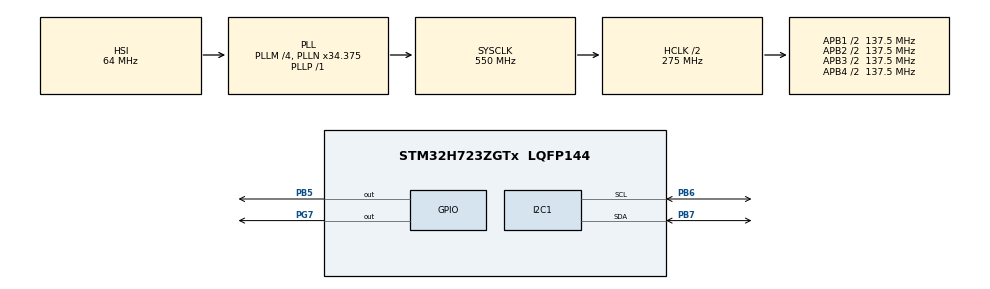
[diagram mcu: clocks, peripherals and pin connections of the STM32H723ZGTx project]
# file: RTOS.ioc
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I2C1.Timing=0x60404E72
Mcu.Family=STM32H7
Mcu.Name=STM32H723ZGTx
Mcu.Package=LQFP144
NVIC.PriorityGroup=NVIC_PRIORITYGROUP_4
NVIC.TIM7_IRQn=true\:15\:0\:false\:false\:true\:true\:true\:true
NVIC.TimeBase=TIM7_IRQn
NVIC.TimeBaseIP=TIM7
PA13(JTMS/SWDIO).Mode=Serial_Wire
PA13(JTMS/SWDIO).Signal=DEBUG_JTMS-SWDIO
PA14(JTCK/SWCLK).Mode=Serial_Wire
PA14(JTCK/SWCLK).Signal=DEBUG_JTCK-SWCLK
PB5.GPIO_PuPd=GPIO_PULLUP
PB5.GPIO_Speed=GPIO_SPEED_FREQ_HIGH
PB5.Signal=GPIO_Output
PB6.GPIO_Pu=GPIO_PULLUP
PB6.GPIO_Speed=GPIO_SPEED_FREQ_VERY_HIGH
PB6.Mode=I2C
PB6.Signal=I2C1_SCL
PB7.GPIO_Pu=GPIO_PULLUP
PB7.GPIO_Speed=GPIO_SPEED_FREQ_VERY_HIGH
PB7.Mode=I2C
PB7.Signal=I2C1_SDA
PC14-OSC32_IN.Mode=LSE-External-Oscillator
PC14-OSC32_IN.Signal=RCC_OSC32_IN
PC15-OSC32_OUT.Mode=LSE-External-Oscillator
PC15-OSC32_OUT.Signal=RCC_OSC32_OUT
PG7.GPIO_PuPd=GPIO_NOPULL
PG7.GPIO_Speed=GPIO_SPEED_FREQ_HIGH
PG7.PinState=GPIO_PIN_SET
PG7.Signal=GPIO_Output
PH0-OSC_IN.Mode=HSE-External-Oscillator
PH0-OSC_IN.Signal=RCC_OSC_IN
PH1-OSC_OUT.Mode=HSE-External-Oscillator
PH1-OSC_OUT.Signal=RCC_OSC_OUT
ProjectManager.HeapSize=0x200
ProjectManager.StackSize=0x400
ProjectManager.TargetToolchain=MDK-ARM V5.32
RCC.ADCFreq_Value=129000000
RCC.APB1Freq_Value=137500000
RCC.APB2Freq_Value=137500000
RCC.APB3Freq_Value=137500000
RCC.APB4Freq_Value=137500000
RCC.CortexFreq_Value=550000000
RCC.D1PPRE=RCC_APB3_DIV2
RCC.D2PPRE1=RCC_APB1_DIV2
RCC.D2PPRE2=RCC_APB2_DIV2
RCC.D3PPRE=RCC_APB4_DIV2
RCC.DIVM1=4
RCC.DIVN1=34
RCC.DIVP1=1
RCC.HCLKFreq_Value=275000000
RCC.HPRE=RCC_HCLK_DIV2
RCC.PLLFRACN=3072
RCC.SYSCLKFreq_VALUE=550000000
RCC.SYSCLKSource=RCC_SYSCLKSOURCE_PLLCLK
RCC.USBFreq_Value=275000000
VP_SYS_VS_tim7.Mode=TIM7
board=custom

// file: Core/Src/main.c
/* USER CODE BEGIN Header */
/**
  ******************************************************************************
  * @file           : main.c
  * @brief          : Main program body
  ******************************************************************************
  * @attention
  *
  * Copyright (c) 2024 STMicroelectronics.
  * All rights reserved.
  *
  * This software is licensed under terms that can be found in the LICENSE file
  * in the root directory of this software component.
  * If no LICENSE file comes with this software, it is provided AS-IS.
  *
  ******************************************************************************
  */
/* USER CODE END Header */
#include "main.h"
#include "i2c.h"
#include "gpio.h"

/* USER CODE BEGIN Includes */
#include "oledBuff.h"
/* USER CODE END Includes */

void SystemClock_Config(void);

int main(void)
{

  /* MCU Configuration--------------------------------------------------------*/

  /* Reset of all peripherals, Initializes the Flash interface and the Systick. */
  HAL_Init();

  /* Configure the system clock */
  SystemClock_Config();

  /* Initialize all configured peripherals */
  MX_GPIO_Init();
  MX_I2C1_Init();
  /* USER CODE BEGIN 2 */
  /* ------------ 测试程序 ---------------- */
	OLED_Init();
	OLED_Clear();
	/* ------------------------------------- */
	OLED_On();
	HAL_Delay(500);
	/* ------------------------------------- */
	OLED_ShowChar(0,0,'c',16,1);
	OLED_ShowNum(0,2,1234,4,16,0);
	OLED_ShowString(0,4,"abcds",16,0);
	OLED_Showdecimal(0,6,1.2345f,1,4,16,0);
	OLED_Refresh();									// 显示到屏幕
	HAL_Delay(500);
	/* ------------------------------------- */
	OLED_ShowCHinese(0,0,0,0);			// 独
	OLED_ShowCHinese(0,2,1,0);			// 角
	OLED_ShowCHinese(0,4,2,0);			// 兽
	OLED_Refresh();									// 显示到屏幕
	HAL_Delay(500);
	/* ------------------------------------- */
	OLED_Clear();										// 清屏
	OLED_DrawBMP(0,2,32,6,BMP2,0);	// 显示图片
	OLED_Refresh();									// 显示到OLED
  /* USER CODE END 2 */

  /* Infinite loop */
  while (1)
  {

  }
}

void SystemClock_Config(void)
{
  RCC_OscInitTypeDef RCC_OscInitStruct = {0};
  RCC_ClkInitTypeDef RCC_ClkInitStruct = {0};

  /** Supply configuration update enable
  */
  HAL_PWREx_ConfigSupply(PWR_LDO_SUPPLY);

  /** Configure the main internal regulator output voltage
  */
  __HAL_PWR_VOLTAGESCALING_CONFIG(PWR_REGULATOR_VOLTAGE_SCALE0);

  while(!__HAL_PWR_GET_FLAG(PWR_FLAG_VOSRDY)) {}

  /** Initializes the RCC Oscillators according to the specified parameters
  * in the RCC_OscInitTypeDef structure.
  */
  RCC_OscInitStruct.OscillatorType = RCC_OSCILLATORTYPE_HSI;
  RCC_OscInitStruct.HSIState = RCC_HSI_DIV1;
  RCC_OscInitStruct.HSICalibrationValue = 64;
  RCC_OscInitStruct.PLL.PLLState = RCC_PLL_ON;
  RCC_OscInitStruct.PLL.PLLSource = RCC_PLLSOURCE_HSI;
  RCC_OscInitStruct.PLL.PLLM = 4;
  RCC_OscInitStruct.PLL.PLLN = 34;
  RCC_OscInitStruct.PLL.PLLP = 1;
  RCC_OscInitStruct.PLL.PLLQ = 2;
  RCC_OscInitStruct.PLL.PLLR = 2;
  RCC_OscInitStruct.PLL.PLLRGE = RCC_PLL1VCIRANGE_3;
  RCC_OscInitStruct.PLL.PLLVCOSEL = RCC_PLL1VCOWIDE;
  RCC_OscInitStruct.PLL.PLLFRACN = 3072;
  if (HAL_RCC_OscConfig(&RCC_OscInitStruct) != HAL_OK)
  {
    Error_Handler();
  }

  /** Initializes the CPU, AHB and APB buses clocks
  */
  RCC_ClkInitStruct.ClockType = RCC_CLOCKTYPE_HCLK|RCC_CLOCKTYPE_SYSCLK
                              |RCC_CLOCKTYPE_PCLK1|RCC_CLOCKTYPE_PCLK2
                              |RCC_CLOCKTYPE_D3PCLK1|RCC_CLOCKTYPE_D1PCLK1;
  RCC_ClkInitStruct.SYSCLKSource = RCC_SYSCLKSOURCE_PLLCLK;
  RCC_ClkInitStruct.SYSCLKDivider = RCC_SYSCLK_DIV1;
  RCC_ClkInitStruct.AHBCLKDivider = RCC_HCLK_DIV2;
  RCC_ClkInitStruct.APB3CLKDivider = RCC_APB3_DIV2;
  RCC_ClkInitStruct.APB1CLKDivider = RCC_APB1_DIV2;
  RCC_ClkInitStruct.APB2CLKDivider = RCC_APB2_DIV2;
  RCC_ClkInitStruct.APB4CLKDivider = RCC_APB4_DIV2;

  if (HAL_RCC_ClockConfig(&RCC_ClkInitStruct, FLASH_LATENCY_3) != HAL_OK)
  {
    Error_Handler();
  }
}

void HAL_TIM_PeriodElapsedCallback(TIM_HandleTypeDef *htim)
{
  if (htim->Instance == TIM7) {
    HAL_IncTick();
  }
}

void Error_Handler(void)
{
  __disable_irq();
  while (1)
  {
  }
}
